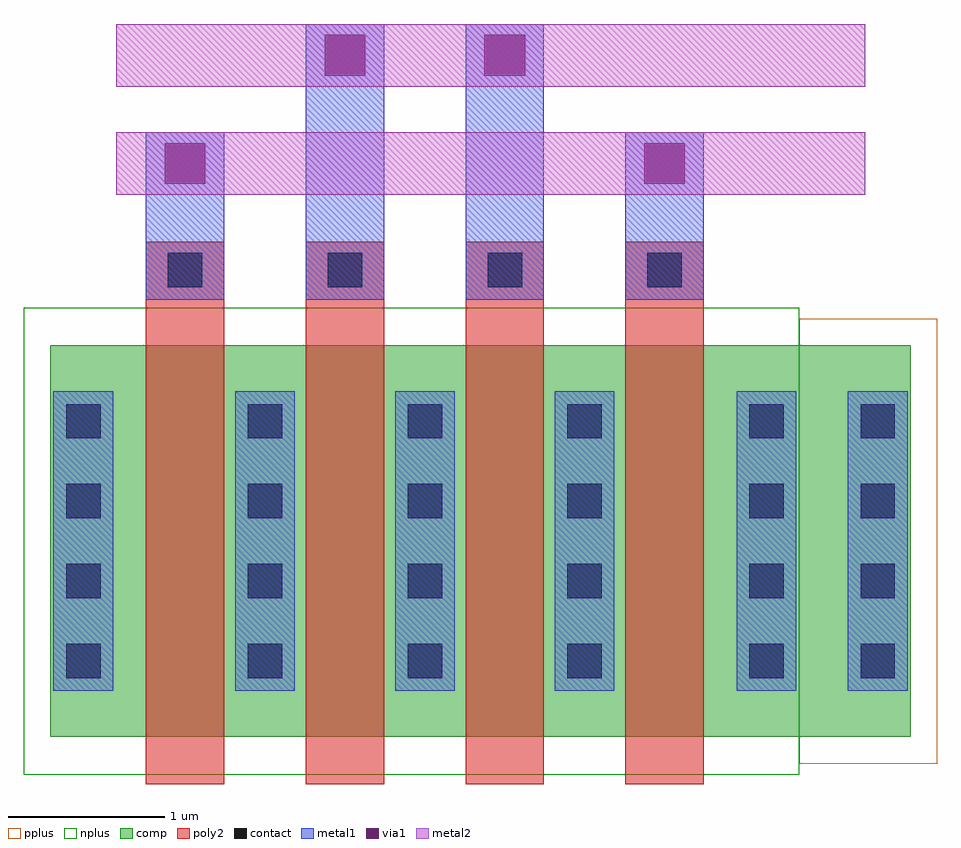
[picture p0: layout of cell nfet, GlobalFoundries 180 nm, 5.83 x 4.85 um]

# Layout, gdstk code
import gdstk
lib = gdstk.Library(unit=1e-6, precision=5e-09)
def R(c, l, rs):  # rectangles x0, y0, x1, y1
    for r in rs: c.add(gdstk.rectangle(r[:2], r[2:], *l))
def A(c, l, x, y, w, h, nx, ny, dx, dy):  # array of equal rectangles
    R(c, l, [(x+i*dx, y+j*dy, x+i*dx+w, y+j*dy+h) for i in range(nx) for j in range(ny)])
comp = (22, 0)
poly2 = (30, 0)
pplus = (31, 0)
nplus = (32, 0)
contact = (33, 0)
metal1 = (34, 0)
via1 = (35, 0)
metal2 = (36, 0)

nfet = lib.new_cell('nfet')
R(nfet, comp, [(-0.42,0,0,2.5), (0,0,3.94,2.5), (3.94,0,4.36,2.5), (4.36,0,5.07,2.5)])
A(nfet, poly2, 0.19, -0.3, 0.5, 3.1, 4, 1, 1.02, 0)
A(nfet, poly2, 0.19, 2.8, 0.5, 0.36, 4, 1, 1.02, 0)
R(nfet, pplus, [(4.36,-0.17,5.24,2.67)])
R(nfet, nplus, [(-0.59,-0.24,4.36,2.74)])
A(nfet, contact, -0.32, 0.375, 0.22, 0.22, 1, 4, 0, 0.51)
A(nfet, contact, 0.84, 0.375, 0.22, 0.22, 3, 4, 1.02, 0.51)
A(nfet, contact, 4.04, 0.375, 0.22, 0.22, 1, 4, 0, 0.51)
A(nfet, contact, 4.75, 0.375, 0.22, 0.22, 1, 4, 0, 0.51)
A(nfet, contact, 0.33, 2.87, 0.22, 0.22, 4, 1, 1.02, 0)
A(nfet, metal1, 0.76, 0.295, 0.38, 1.91, 3, 1, 1.02, 0)
A(nfet, metal1, 0.25, 2.79, 0.38, 0.38, 4, 1, 1.02, 0)
R(nfet, metal1, [(-0.4,0.295,-0.02,2.205), (3.96,0.295,4.34,2.205), (4.67,0.295,5.05,2.205), (0.19,2.79,0.69,3.86), (1.21,2.79,1.71,4.55), (2.23,2.79,2.73,4.55), (3.25,2.79,3.75,3.86)])
R(nfet, via1, [(0.31,3.53,0.57,3.79), (3.37,3.53,3.63,3.79), (1.33,4.22,1.59,4.48), (2.35,4.22,2.61,4.48)])
R(nfet, metal2, [(0,3.46,4.78,3.86), (0,4.15,4.78,4.55)])

lib.write_gds('nfet.gds')
